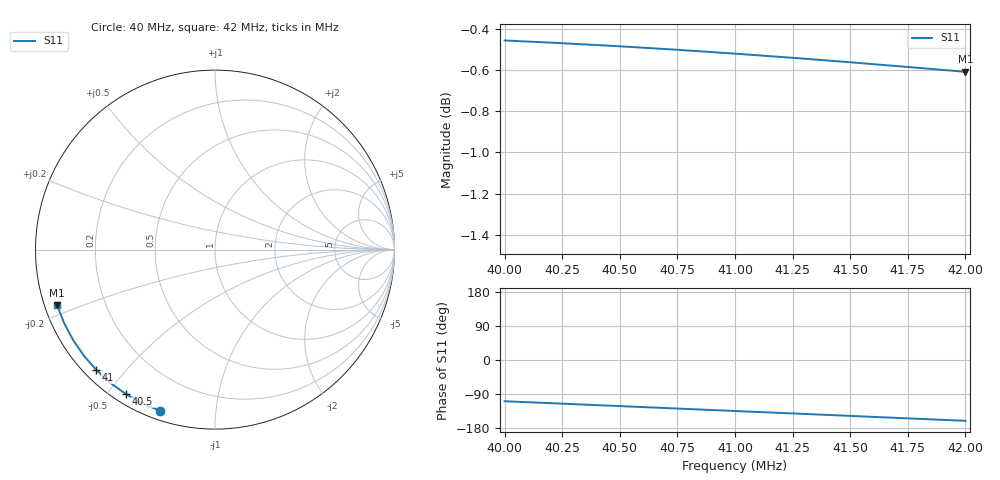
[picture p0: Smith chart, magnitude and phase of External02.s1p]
# Hz S RI R 50
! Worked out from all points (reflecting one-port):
!   9 points, 40 MHz to 42 MHz, reference 50 ohm
!   lowest |S11| = -0.6 dB at 42 MHz (marker M1), VSWR 28.58, Z = 1.8 - j8.59 ohm
!   phase of S11 starts at -109 deg and turns -52 deg over the sweep
!   S11 on the Smith chart (normalised r, x): 40 MHz: 0.04, -0.72; 40.5 MHz: 0.04, -0.56; 41 MHz: 0.04, -0.42; 42 MHz: 0.04, -0.17
4e7  -0.3059 -0.8983
4.025e7  -0.4038 -0.8571
4.05e7  -0.4964 -0.8051
4.075e7  -0.5826 -0.7428
4.1e7  -0.661 -0.671
4.125e7  -0.7307 -0.5909
4.15e7  -0.7907 -0.5034
4.175e7  -0.8403 -0.4098
4.2e7  -0.8788 -0.3114
